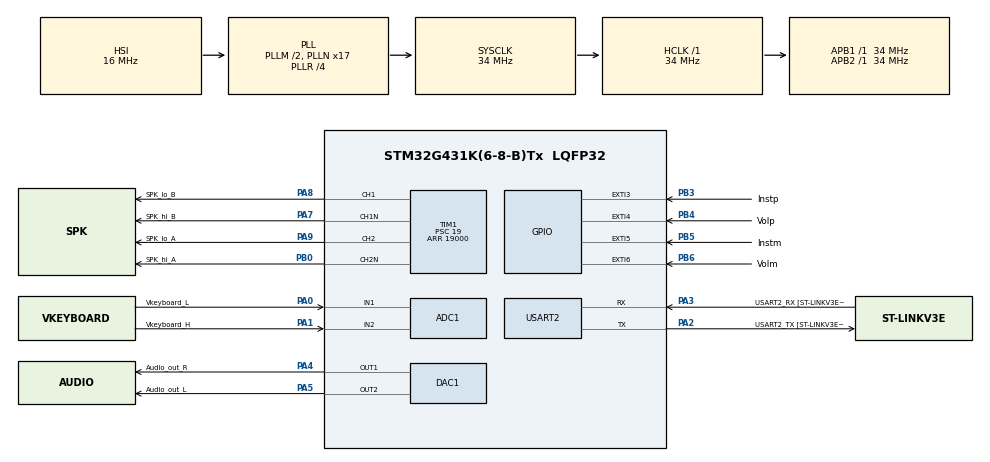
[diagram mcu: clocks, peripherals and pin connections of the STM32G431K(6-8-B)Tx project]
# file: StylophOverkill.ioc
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ADC1.Channel-0\#ChannelRegularConversion=ADC_CHANNEL_1
ADC1.Channel-1\#ChannelRegularConversion=ADC_CHANNEL_2
ADC1.ClockPrescaler=ADC_CLOCK_ASYNC_DIV2
ADC1.ContinuousConvMode=ENABLE
ADC1.DMAContinuousRequests=ENABLE
ADC1.ExternalTrigConv=ADC_SOFTWARE_START
ADC1.NbrOfConversion=2
ADC1.NbrOfConversionFlag=1
ADC1.OffsetNumber-0\#ChannelRegularConversion=ADC_OFFSET_NONE
ADC1.OffsetNumber-1\#ChannelRegularConversion=ADC_OFFSET_NONE
ADC1.Overrun=ADC_OVR_DATA_OVERWRITTEN
ADC1.Rank-0\#ChannelRegularConversion=1
ADC1.Rank-1\#ChannelRegularConversion=2
ADC1.SamplingTime-0\#ChannelRegularConversion=ADC_SAMPLETIME_92CYCLES_5
ADC1.SamplingTime-1\#ChannelRegularConversion=ADC_SAMPLETIME_92CYCLES_5
ADC1.master=1
DAC1.DAC_Channel-DAC_OUT2=DAC_CHANNEL_2
DAC1.DAC_DMADoubleDataMode-DAC_OUT1=DISABLE
DAC1.DAC_SignedFormat-DAC_OUT1=DISABLE
DAC1.DAC_Trigger_OUT1-DAC_OUT1=DAC_TRIGGER_T6_TRGO
DAC1.DAC_Trigger_OUT2-DAC_OUT2=DAC_TRIGGER_T6_TRGO
DAC1.DAC_UserTrimming-DAC_OUT1=DAC_TRIMMING_FACTORY
Dma.ADC1.0.Direction=DMA_PERIPH_TO_MEMORY
Dma.ADC1.0.EventEnable=DISABLE
Dma.ADC1.0.Instance=DMA1_Channel1
Dma.ADC1.0.MemDataAlignment=DMA_MDATAALIGN_WORD
Dma.ADC1.0.MemInc=DMA_MINC_ENABLE
Dma.ADC1.0.Mode=DMA_CIRCULAR
Dma.ADC1.0.PeriphDataAlignment=DMA_PDATAALIGN_WORD
Dma.ADC1.0.PeriphInc=DMA_PINC_DISABLE
Dma.ADC1.0.Polarity=HAL_DMAMUX_REQ_GEN_RISING
Dma.ADC1.0.Priority=DMA_PRIORITY_LOW
Dma.ADC1.0.RequestNumber=1
Dma.ADC1.0.SignalID=NONE
Dma.ADC1.0.SyncEnable=DISABLE
Dma.ADC1.0.SyncPolarity=HAL_DMAMUX_SYNC_NO_EVENT
Dma.ADC1.0.SyncRequestNumber=1
Dma.ADC1.0.SyncSignalID=NONE
Dma.CORDIC_READ.1.Direction=DMA_PERIPH_TO_MEMORY
Dma.CORDIC_READ.1.EventEnable=DISABLE
Dma.CORDIC_READ.1.Instance=DMA2_Channel1
Dma.CORDIC_READ.1.MemDataAlignment=DMA_MDATAALIGN_WORD
Dma.CORDIC_READ.1.MemInc=DMA_MINC_ENABLE
Dma.CORDIC_READ.1.Mode=DMA_NORMAL
Dma.CORDIC_READ.1.PeriphDataAlignment=DMA_PDATAALIGN_WORD
Dma.CORDIC_READ.1.PeriphInc=DMA_PINC_DISABLE
Dma.CORDIC_READ.1.Polarity=HAL_DMAMUX_REQ_GEN_RISING
Dma.CORDIC_READ.1.Priority=DMA_PRIORITY_MEDIUM
Dma.CORDIC_READ.1.RequestNumber=1
Dma.CORDIC_READ.1.SignalID=NONE
Dma.CORDIC_READ.1.SyncEnable=DISABLE
Dma.CORDIC_READ.1.SyncPolarity=HAL_DMAMUX_SYNC_NO_EVENT
Dma.CORDIC_READ.1.SyncRequestNumber=1
Dma.CORDIC_READ.1.SyncSignalID=NONE
Dma.CORDIC_WRITE.2.Direction=DMA_MEMORY_TO_PERIPH
Dma.CORDIC_WRITE.2.EventEnable=DISABLE
Dma.CORDIC_WRITE.2.Instance=DMA2_Channel2
Dma.CORDIC_WRITE.2.MemDataAlignment=DMA_MDATAALIGN_WORD
Dma.CORDIC_WRITE.2.MemInc=DMA_MINC_ENABLE
Dma.CORDIC_WRITE.2.Mode=DMA_NORMAL
Dma.CORDIC_WRITE.2.PeriphDataAlignment=DMA_PDATAALIGN_WORD
Dma.CORDIC_WRITE.2.PeriphInc=DMA_PINC_DISABLE
Dma.CORDIC_WRITE.2.Polarity=HAL_DMAMUX_REQ_GEN_RISING
Dma.CORDIC_WRITE.2.Priority=DMA_PRIORITY_LOW
Dma.CORDIC_WRITE.2.RequestNumber=1
Dma.CORDIC_WRITE.2.SignalID=NONE
Dma.CORDIC_WRITE.2.SyncEnable=DISABLE
Dma.CORDIC_WRITE.2.SyncPolarity=HAL_DMAMUX_SYNC_NO_EVENT
Dma.CORDIC_WRITE.2.SyncRequestNumber=1
Dma.CORDIC_WRITE.2.SyncSignalID=NONE
Dma.DAC1_CH1.3.Direction=DMA_MEMORY_TO_PERIPH
Dma.DAC1_CH1.3.EventEnable=DISABLE
Dma.DAC1_CH1.3.Instance=DMA1_Channel2
Dma.DAC1_CH1.3.MemDataAlignment=DMA_MDATAALIGN_WORD
Dma.DAC1_CH1.3.MemInc=DMA_MINC_ENABLE
Dma.DAC1_CH1.3.Mode=DMA_CIRCULAR
Dma.DAC1_CH1.3.PeriphDataAlignment=DMA_PDATAALIGN_WORD
Dma.DAC1_CH1.3.PeriphInc=DMA_PINC_DISABLE
Dma.DAC1_CH1.3.Polarity=HAL_DMAMUX_REQ_GEN_RISING
Dma.DAC1_CH1.3.Priority=DMA_PRIORITY_LOW
Dma.DAC1_CH1.3.RequestNumber=1
Dma.DAC1_CH1.3.SignalID=NONE
Dma.DAC1_CH1.3.SyncEnable=DISABLE
Dma.DAC1_CH1.3.SyncPolarity=HAL_DMAMUX_SYNC_NO_EVENT
Dma.DAC1_CH1.3.SyncRequestNumber=1
Dma.DAC1_CH1.3.SyncSignalID=NONE
Dma.DAC1_CH2.4.Direction=DMA_MEMORY_TO_PERIPH
Dma.DAC1_CH2.4.EventEnable=DISABLE
Dma.DAC1_CH2.4.Instance=DMA1_Channel3
Dma.DAC1_CH2.4.MemDataAlignment=DMA_MDATAALIGN_WORD
Dma.DAC1_CH2.4.MemInc=DMA_MINC_ENABLE
Dma.DAC1_CH2.4.Mode=DMA_CIRCULAR
Dma.DAC1_CH2.4.PeriphDataAlignment=DMA_PDATAALIGN_WORD
Dma.DAC1_CH2.4.PeriphInc=DMA_PINC_DISABLE
Dma.DAC1_CH2.4.Polarity=HAL_DMAMUX_REQ_GEN_RISING
Dma.DAC1_CH2.4.Priority=DMA_PRIORITY_LOW
Dma.DAC1_CH2.4.RequestNumber=1
Dma.DAC1_CH2.4.SignalID=NONE
Dma.DAC1_CH2.4.SyncEnable=DISABLE
Dma.DAC1_CH2.4.SyncPolarity=HAL_DMAMUX_SYNC_NO_EVENT
Dma.DAC1_CH2.4.SyncRequestNumber=1
Dma.DAC1_CH2.4.SyncSignalID=NONE
Dma.Request0=ADC1
Dma.Request1=CORDIC_READ
Dma.Request2=CORDIC_WRITE
Dma.Request3=DAC1_CH1
Dma.Request4=DAC1_CH2
Mcu.Family=STM32G4
Mcu.Name=STM32G431K(6-8-B)Tx
Mcu.Package=LQFP32
NVIC.DMA1_Channel1_IRQn=true\:0\:0\:false\:false\:true\:false\:true
NVIC.DMA1_Channel2_IRQn=true\:0\:0\:false\:false\:true\:false\:true
NVIC.DMA1_Channel3_IRQn=true\:0\:0\:false\:false\:true\:false\:true
NVIC.DMA2_Channel1_IRQn=true\:0\:0\:false\:false\:true\:false\:true
NVIC.DMA2_Channel2_IRQn=true\:0\:0\:false\:false\:true\:false\:true
NVIC.PriorityGroup=NVIC_PRIORITYGROUP_4
NVIC.TIM2_IRQn=true\:0\:0\:false\:false\:true\:true\:true
NVIC.TIM6_DAC_IRQn=true\:0\:0\:false\:false\:true\:true\:true
PA0.GPIO_Label=Vkeyboard_L
PA0.Mode=IN1-Single-Ended
PA0.Signal=ADC1_IN1
PA1.GPIO_Label=Vkeyboard_H
PA1.Mode=IN2-Single-Ended
PA1.Signal=ADC1_IN2
PA13.GPIO_Label=T_SWDIO
PA13.Mode=Serial_Wire
PA13.Signal=SYS_JTMS-SWDIO
PA14.GPIO_Label=T_SWCLK
PA14.Mode=Serial_Wire
PA14.Signal=SYS_JTCK-SWCLK
PA2.GPIO_Label=USART2_TX [ST-LINKV3E_VCP_RX]
PA2.Mode=Asynchronous
PA2.Signal=USART2_TX
PA3.GPIO_Label=USART2_RX [ST-LINKV3E_VCP_TX]
PA3.Mode=Asynchronous
PA3.Signal=USART2_RX
PA4.GPIO_Label=Audio_out_R
PA4.Signal=COMP_DAC11_group
PA5.GPIO_Label=Audio_out_L
PA5.Signal=COMP_DAC12_group
PA7.GPIO_Label=SPK_hi_B
PA7.Mode=PWM Generation1 CH1 CH1N
PA7.Signal=TIM1_CH1N
PA8.GPIO_Label=SPK_lo_B
PA8.Signal=S_TIM1_CH1
PA9.GPIO_Label=SPK_lo_A
PA9.Signal=S_TIM1_CH2
PB0.GPIO_Label=SPK_hi_A
PB0.Mode=PWM Generation2 CH2 CH2N
PB0.Signal=TIM1_CH2N
PB3.GPIO_Label=Instp
PB3.GPIO_ModeDefaultEXTI=GPIO_MODE_IT_RISING_FALLING
PB3.Signal=GPXTI3
PB4.GPIO_Label=Volp
PB4.GPIO_ModeDefaultEXTI=GPIO_MODE_IT_RISING_FALLING
PB4.Signal=GPXTI4
PB5.GPIO_Label=Instm
PB5.GPIO_ModeDefaultEXTI=GPIO_MODE_IT_RISING_FALLING
PB5.Signal=GPXTI5
PB6.GPIO_Label=Volm
PB6.GPIO_ModeDefaultEXTI=GPIO_MODE_IT_RISING_FALLING
PB6.Signal=GPXTI6
ProjectManager.HeapSize=0x200
ProjectManager.StackSize=0x400
ProjectManager.TargetToolchain=STM32CubeIDE
RCC.ADC12Freq_Value=34000000
RCC.AHBFreq_Value=34000000
RCC.APB1Freq_Value=34000000
RCC.APB1TimFreq_Value=34000000
RCC.APB2Freq_Value=34000000
RCC.APB2TimFreq_Value=34000000
RCC.CortexFreq_Value=34000000
RCC.EXTERNAL_CLOCK_VALUE=12288000
RCC.HCLKFreq_Value=34000000
RCC.HSE_VALUE=8000000
RCC.HSI48_VALUE=48000000
RCC.HSI_VALUE=16000000
RCC.LSE_VALUE=32768
RCC.PLLM=RCC_PLLM_DIV2
RCC.PLLN=17
RCC.PLLR=RCC_PLLR_DIV4
RCC.SYSCLKFreq_VALUE=34000000
RCC.SYSCLKSource=RCC_SYSCLKSOURCE_PLLCLK
RCC.USBFreq_Value=68000000
RCC.VCOOutputFreq_Value=136000000
SH.COMP_DAC11_group.0=DAC1_OUT1,DAC_OUT1
SH.COMP_DAC12_group.0=DAC1_OUT2,DAC_OUT2
SH.S_TIM1_CH1.0=TIM1_CH1,PWM Generation1 CH1 CH1N
SH.S_TIM1_CH2.0=TIM1_CH2,PWM Generation2 CH2 CH2N
TIM1.AutoReloadPreload=TIM_AUTORELOAD_PRELOAD_ENABLE
TIM1.Channel-PWM\ Generation1\ CH1\ CH1N=TIM_CHANNEL_1
TIM1.Channel-PWM\ Generation2\ CH2\ CH2N=TIM_CHANNEL_2
TIM1.DeadTime=0
TIM1.OCFastMode_PWM-PWM\ Generation1\ CH1\ CH1N=TIM_OCFAST_ENABLE
TIM1.OCFastMode_PWM-PWM\ Generation2\ CH2\ CH2N=TIM_OCFAST_ENABLE
TIM1.OCMode_PWM-PWM\ Generation2\ CH2\ CH2N=TIM_OCMODE_PWM1
TIM1.OCNIdleState_2=TIM_OCNIDLESTATE_RESET
TIM1.OCNPolarity_1=TIM_OCNPOLARITY_LOW
TIM1.OCNPolarity_2=TIM_OCNPOLARITY_HIGH
TIM1.OCPolarity_1=TIM_OCPOLARITY_HIGH
TIM1.OCPolarity_2=TIM_OCPOLARITY_LOW
TIM1.PeriodNoDither=19000
TIM1.Prescaler=19
TIM1.PulseNoDither_1=250
TIM1.PulseNoDither_2=250
TIM2.PeriodNoDither=999
TIM2.Prescaler=169
TIM6.AutoReloadPreload=TIM_AUTORELOAD_PRELOAD_ENABLE
TIM6.PeriodNoDither=22
TIM6.Prescaler=1
TIM6.TIM_MasterOutputTrigger=TIM_TRGO_UPDATE
USART2.VirtualMode-Asynchronous=VM_ASYNC
USART2.WordLength=WORDLENGTH_8B
VP_CORDIC_VS_CORDIC.Mode=CORDIC_Activate
VP_FMAC_VS_FMAC.Mode=FMAC_Activate
VP_SYS_VS_DBSignals.Mode=DisableDeadBatterySignals
VP_TIM1_VS_ClockSourceINT.Mode=Internal
VP_TIM2_VS_ClockSourceINT.Mode=Internal
VP_TIM6_VS_ClockSourceINT.Mode=Enable_Timer
board=NUCLEO-G431KB

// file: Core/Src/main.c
/* USER CODE BEGIN Header */
/**
 ******************************************************************************
 * @file           : main.c
 * @brief          : Main program body
 ******************************************************************************
 * @attention
 *
 * <h2><center>&copy; Copyright (c) 2020 STMicroelectronics.
 * All rights reserved.</center></h2>
 *
 * This software component is licensed by ST under BSD 3-Clause license,
 * the "License"; You may not use this file except in compliance with the
 * License. You may obtain a copy of the License at:
 *                        opensource.org/licenses/BSD-3-Clause
 *
 ******************************************************************************
 */
/* USER CODE END Header */

#include "main.h"

/* USER CODE BEGIN Includes */
#include "define.h"
/* USER CODE END Includes */

/* USER CODE BEGIN PD */

#define LOOKUP_TABLE_SIZE 400
#define VOL_P_BIT 7
#define VOL_M_BIT 6
#define INST_P_BIT 5
#define INST_M_BIT 4
#define DEBOUNCE_TIME 10 //TIM 2 ARR IRQ = ms

/* USER CODE END PD */

ADC_HandleTypeDef hadc1;
DMA_HandleTypeDef hdma_adc1;

CORDIC_HandleTypeDef hcordic;
DMA_HandleTypeDef hdma_cordic_read;
DMA_HandleTypeDef hdma_cordic_write;

DAC_HandleTypeDef hdac1;
DMA_HandleTypeDef hdma_dac1_ch1;
DMA_HandleTypeDef hdma_dac1_ch2;

FMAC_HandleTypeDef hfmac;

TIM_HandleTypeDef htim1;
TIM_HandleTypeDef htim2;
TIM_HandleTypeDef htim6;

UART_HandleTypeDef huart2;

/* USER CODE BEGIN PV */
uint32_t wave_table[LOOKUP_TABLE_SIZE];
float outputVolume = 0.1;
uint32_t KeyboardCaptureBuffer[2];

volatile uint16_t Vol_p_Tick;
volatile uint16_t Vol_m_Tick;
volatile uint16_t Inst_p_Tick;
volatile uint16_t Inst_m_Tick;
volatile uint16_t Tick;
volatile uint8_t buttonFlags = 0x00; // Vol+_Vol-_Inst+_Inst-_0_0_0_0
volatile uint8_t buttonDownFlags = 0x00; // Vol+_Vol-_Inst+_Inst-_0_0_0_0

/* USER CODE END PV */

void SystemClock_Config(void);
static void MX_GPIO_Init(void);
static void MX_DMA_Init(void);
static void MX_USART2_UART_Init(void);
static void MX_TIM1_Init(void);
static void MX_ADC1_Init(void);
static void MX_CORDIC_Init(void);
static void MX_FMAC_Init(void);
static void MX_DAC1_Init(void);
static void MX_TIM6_Init(void);
static void MX_TIM2_Init(void);
/* USER CODE BEGIN PFP */

typedef enum{
	sine,
	square,
	sawtooth,
	triangular,
	pulse
}waveShape;

void generateWaveTable(uint32_t table[], waveShape shape,  uint16_t size, float amplitude)
{

	//Calculate coefs first to avoid multiple calculations
	float linear_coefs[2] = {(amplitude*4095.0f)/(float)size, (2047.0f-amplitude*2047.0f)};
	for (int i = 0 ; i < size ; i++)
	{
		switch(shape)
		{
		case sine:;
		float angle = ((float)i-(float)size/2.0f)/((float)size/2.0f);
		int32_t Fangle = TOFIX(angle,31);
		int32_t Fresult =0;
		HAL_CORDIC_Calculate(&hcordic, &Fangle, &Fresult, 1, 2);
		float calculatedSin = TOFLT(Fresult,31);
		table[i] = (uint32_t)(amplitude*2047.0f*calculatedSin+2048.0f);
		break;
		case square:
			if (i < size/2) table[i] = (uint32_t)(2048.0f + amplitude*2047.0f);
			else table[i] = (uint32_t)(2047.0f-amplitude*2047.0f);
			break;
		case sawtooth:
			table[i] = (uint32_t)(linear_coefs[0]*(float)i+linear_coefs[1]);
			break;
		case triangular:
			if (i < size/2)
			{
				uint32_t val = (uint32_t)(linear_coefs[0]*2.0f*(float)i+linear_coefs[1]);
				table[i] = val;
				table[size-1-i] = val;
			}
			break;
		case pulse:
			break;
		}
	}
}

//For now just apply the note index output settings based on current output mode.
void note_on(uint16_t  index)
{
	if (index >= NUMBER_OF_NOTES)
	{
		HAL_TIM_Base_Stop(&htim6);
		HAL_TIM_PWM_Stop(&htim1, TIM_CHANNEL_2);
		HAL_TIMEx_PWMN_Stop(&htim1, TIM_CHANNEL_2);
		HAL_TIM_PWM_Stop(&htim1, TIM_CHANNEL_1);
		HAL_TIMEx_PWMN_Stop(&htim1, TIM_CHANNEL_1);
		return;
	}
	switch(CurrentOMode)
	{
	case PWM:
		if (NextOMode == synth)
		{
			HAL_TIM_PWM_Stop(&htim1, TIM_CHANNEL_2);
			HAL_TIMEx_PWMN_Stop(&htim1, TIM_CHANNEL_2);
			HAL_TIM_PWM_Stop(&htim1, TIM_CHANNEL_1);
			HAL_TIMEx_PWMN_Stop(&htim1, TIM_CHANNEL_1);
			CurrentOMode = synth;
			note_on(index); // Apply immediately the new mode
		}
		else
		{

			HAL_TIM_PWM_Start(&htim1, TIM_CHANNEL_2);
			HAL_TIMEx_PWMN_Start(&htim1, TIM_CHANNEL_2);
			HAL_TIM_PWM_Start(&htim1, TIM_CHANNEL_1);
			HAL_TIMEx_PWMN_Start(&htim1, TIM_CHANNEL_1);
			TIM1->ARR = (notes[index].PWM_ARR-1);	//Auto reload pre load is enabled ==> Change of frequency active at next reload
			TIM1->CCR1 = (notes[index].PWM_ARR-1)/2;	//Auto Compare pre load is enabled ==> Change of duty active at next reload
			TIM1->CCR2 = notes[index].PWM_ARR-(notes[index].PWM_ARR-1)/2;	//Auto Compare pre load is enabled ==> Change of duty active at next reload
		}
		break;

	case synth:
		if (NextOMode == PWM)
		{
			HAL_TIM_Base_Stop(&htim6);
			CurrentOMode = PWM;
			note_on(index); // Apply immediately the new mode
		}
		else
		{
			HAL_TIM_Base_Start(&htim6);
			TIM6->ARR = (notes[index].Synth_ARR-1)/2;	//Auto reload pre load is enabled ==> Change of frequency active at next reload
		}
		break;

	case None:
		if (NextOMode == PWM)
		{
			HAL_TIM_PWM_Start(&htim1, TIM_CHANNEL_2);
			HAL_TIMEx_PWMN_Start(&htim1, TIM_CHANNEL_2);
			CurrentOMode = PWM;
		}
		else if (NextOMode == synth)
		{
			HAL_TIM_Base_Start(&htim6);
			CurrentOMode = synth;
		}
		note_on(index); // Apply immediately the new mode
		break;

	default:
		break;

	}
}
/* USER CODE END PFP */

int main(void)
{

  /* MCU Configuration--------------------------------------------------------*/

  /* Reset of all peripherals, Initializes the Flash interface and the Systick. */
  HAL_Init();

  /* Configure the system clock */
  SystemClock_Config();

  /* Initialize all configured peripherals */
  MX_GPIO_Init();
  MX_DMA_Init();
  MX_USART2_UART_Init();
  MX_TIM1_Init();
  MX_ADC1_Init();
  MX_CORDIC_Init();
  MX_FMAC_Init();
  MX_DAC1_Init();
  MX_TIM6_Init();
  MX_TIM2_Init();
  /* USER CODE BEGIN 2 */
	waveShape currentWaveShape = triangular;
	generateWaveTable(wave_table, currentWaveShape,  LOOKUP_TABLE_SIZE, outputVolume );
	fill_notes_table();
	//HAL_TIM_Base_Start(&htim6);
	HAL_DAC_Start_DMA(&hdac1, DAC_CHANNEL_2, wave_table, LOOKUP_TABLE_SIZE, DAC_ALIGN_12B_R);
	HAL_DAC_Start_DMA(&hdac1, DAC_CHANNEL_1, wave_table, LOOKUP_TABLE_SIZE, DAC_ALIGN_12B_R);
	HAL_TIM_Base_Start_IT(&htim2);

	HAL_ADC_Start_DMA(&hadc1, KeyboardCaptureBuffer, 2);

  /* USER CODE END 2 */

  /* Infinite loop */
  /* USER CODE BEGIN WHILE */
	NextOMode = synth;
	while (1)
	{
		if (Tick>0 )
		{
			Tick = 0;
			note_on(getActiveNote(KeyboardCaptureBuffer[0], KeyboardCaptureBuffer[1]));

			if(HAL_GPIO_ReadPin(Volp_GPIO_Port, Volp_Pin)==0 && !(buttonDownFlags& 1<<VOL_P_BIT))
			{
				Vol_p_Tick = 0; 	// Falling edge, restart debounce counter
				buttonDownFlags |= 1<<VOL_P_BIT;
			}
			else if ((buttonDownFlags& 1<<VOL_P_BIT) &&HAL_GPIO_ReadPin(Volp_GPIO_Port, Volp_Pin)==1)
			{
				buttonDownFlags &= 0xFE <<VOL_P_BIT;
				if(Vol_p_Tick >= DEBOUNCE_TIME)
					buttonFlags |= 1<<VOL_P_BIT;
			}

			if(HAL_GPIO_ReadPin(Volm_GPIO_Port, Volm_Pin)==0 && !(buttonDownFlags& 1<<VOL_M_BIT))
			{
				Vol_m_Tick = 0; 	// Falling edge, restart debounce counter
				buttonDownFlags |= 1<<VOL_M_BIT;
			}
			else if ((buttonDownFlags& 1<<VOL_M_BIT) &&HAL_GPIO_ReadPin(Volm_GPIO_Port, Volm_Pin)==1)
			{
				buttonDownFlags &= 0xFE <<VOL_M_BIT;
				if(Vol_m_Tick >= DEBOUNCE_TIME)
					buttonFlags |= 1<<VOL_M_BIT;
			}

			if(HAL_GPIO_ReadPin(Instp_GPIO_Port, Instp_Pin)==0 && !(buttonDownFlags& 1<<INST_P_BIT))
			{
				Inst_p_Tick = 0; 	// Falling edge, restart debounce counter
				buttonDownFlags |= 1<<INST_P_BIT;
			}
			else if ((buttonDownFlags& 1<<INST_P_BIT) &&HAL_GPIO_ReadPin(Instp_GPIO_Port, Instp_Pin)==1)
			{
				buttonDownFlags &= 0xFE <<INST_P_BIT;
				if(Inst_p_Tick >= DEBOUNCE_TIME)
					buttonFlags |= 1<<INST_P_BIT;
			}

			if(HAL_GPIO_ReadPin(Instm_GPIO_Port, Instm_Pin)==0 && !(buttonDownFlags& 1<<INST_M_BIT))
			{
				Inst_m_Tick = 0; 	// Falling edge, restart debounce counter
				buttonDownFlags |= 1<<INST_M_BIT;
			}
			else if ((buttonDownFlags& 1<<INST_M_BIT) &&HAL_GPIO_ReadPin(Instm_GPIO_Port, Instm_Pin)==1)
			{
				buttonDownFlags &= 0xFE <<INST_M_BIT;
				if(Inst_m_Tick >= DEBOUNCE_TIME)
					buttonFlags |= 1<<INST_M_BIT;
			}
		}

		if (buttonFlags& 1<<VOL_P_BIT)
		{
			int a = 0;
			buttonFlags &= 0xFE <<VOL_P_BIT;
			outputVolume +=0.05;
			if (outputVolume>1.0) outputVolume = 1.0;
			generateWaveTable(wave_table, currentWaveShape,  LOOKUP_TABLE_SIZE, outputVolume );
		}
		if (buttonFlags& 1<<VOL_M_BIT)
		{
			buttonFlags &= 0xFE <<VOL_M_BIT;
			outputVolume -=0.05;
			if(outputVolume<0.0) outputVolume = 0.0;
			generateWaveTable(wave_table, currentWaveShape,  LOOKUP_TABLE_SIZE, outputVolume );
		}
		if (buttonFlags& 1<<INST_P_BIT)
		{
			buttonFlags &= 0xFE <<INST_P_BIT;
			switch(currentWaveShape)
			{
			case sine:
				currentWaveShape = square;
				break;
			case square:
				currentWaveShape = sawtooth;
				break;
			case sawtooth:
				currentWaveShape = triangular;
				break;
			case triangular:
				currentWaveShape = sine;
				break;
			case pulse:
				break;
			}
			generateWaveTable(wave_table, currentWaveShape,  LOOKUP_TABLE_SIZE, outputVolume );
		}
		if (buttonFlags& 1<<INST_M_BIT)
		{
			buttonFlags &= 0xFE <<INST_M_BIT;
			switch(currentWaveShape)
			{
			case sine:
				currentWaveShape = triangular;
				break;
			case square:
				currentWaveShape = sine;
				break;
			case sawtooth:
				currentWaveShape = square;
				break;
			case triangular:
				currentWaveShape = sawtooth;
				break;
			case pulse:
				break;
			}
			generateWaveTable(wave_table, currentWaveShape,  LOOKUP_TABLE_SIZE, outputVolume );
		}

    /* USER CODE END WHILE */

	}
}

void SystemClock_Config(void)
{
  RCC_OscInitTypeDef RCC_OscInitStruct = {0};
  RCC_ClkInitTypeDef RCC_ClkInitStruct = {0};
  RCC_PeriphCLKInitTypeDef PeriphClkInit = {0};

  /** Configure the main internal regulator output voltage
  */
  HAL_PWREx_ControlVoltageScaling(PWR_REGULATOR_VOLTAGE_SCALE1);
  /** Initializes the CPU, AHB and APB busses clocks
  */
  RCC_OscInitStruct.OscillatorType = RCC_OSCILLATORTYPE_HSI;
  RCC_OscInitStruct.HSIState = RCC_HSI_ON;
  RCC_OscInitStruct.HSICalibrationValue = RCC_HSICALIBRATION_DEFAULT;
  RCC_OscInitStruct.PLL.PLLState = RCC_PLL_ON;
  RCC_OscInitStruct.PLL.PLLSource = RCC_PLLSOURCE_HSI;
  RCC_OscInitStruct.PLL.PLLM = RCC_PLLM_DIV2;
  RCC_OscInitStruct.PLL.PLLN = 17;
  RCC_OscInitStruct.PLL.PLLP = RCC_PLLP_DIV2;
  RCC_OscInitStruct.PLL.PLLQ = RCC_PLLQ_DIV2;
  RCC_OscInitStruct.PLL.PLLR = RCC_PLLR_DIV4;
  if (HAL_RCC_OscConfig(&RCC_OscInitStruct) != HAL_OK)
  {
    Error_Handler();
  }
  /** Initializes the CPU, AHB and APB busses clocks
  */
  RCC_ClkInitStruct.ClockType = RCC_CLOCKTYPE_HCLK|RCC_CLOCKTYPE_SYSCLK
                              |RCC_CLOCKTYPE_PCLK1|RCC_CLOCKTYPE_PCLK2;
  RCC_ClkInitStruct.SYSCLKSource = RCC_SYSCLKSOURCE_PLLCLK;
  RCC_ClkInitStruct.AHBCLKDivider = RCC_SYSCLK_DIV1;
  RCC_ClkInitStruct.APB1CLKDivider = RCC_HCLK_DIV1;
  RCC_ClkInitStruct.APB2CLKDivider = RCC_HCLK_DIV1;

  if (HAL_RCC_ClockConfig(&RCC_ClkInitStruct, FLASH_LATENCY_1) != HAL_OK)
  {
    Error_Handler();
  }
  /** Initializes the peripherals clocks
  */
  PeriphClkInit.PeriphClockSelection = RCC_PERIPHCLK_USART2|RCC_PERIPHCLK_ADC12;
  PeriphClkInit.Usart2ClockSelection = RCC_USART2CLKSOURCE_PCLK1;
  PeriphClkInit.Adc12ClockSelection = RCC_ADC12CLKSOURCE_SYSCLK;
  if (HAL_RCCEx_PeriphCLKConfig(&PeriphClkInit) != HAL_OK)
  {
    Error_Handler();
  }
}

static void MX_ADC1_Init(void)
{

  ADC_MultiModeTypeDef multimode = {0};
  ADC_ChannelConfTypeDef sConfig = {0};

  /** Common config
  */
  hadc1.Instance = ADC1;
  hadc1.Init.ClockPrescaler = ADC_CLOCK_ASYNC_DIV2;
  hadc1.Init.Resolution = ADC_RESOLUTION_12B;
  hadc1.Init.DataAlign = ADC_DATAALIGN_RIGHT;
  hadc1.Init.GainCompensation = 0;
  hadc1.Init.ScanConvMode = ADC_SCAN_ENABLE;
  hadc1.Init.EOCSelection = ADC_EOC_SINGLE_CONV;
  hadc1.Init.LowPowerAutoWait = DISABLE;
  hadc1.Init.ContinuousConvMode = ENABLE;
  hadc1.Init.NbrOfConversion = 2;
  hadc1.Init.DiscontinuousConvMode = DISABLE;
  hadc1.Init.ExternalTrigConv = ADC_SOFTWARE_START;
  hadc1.Init.ExternalTrigConvEdge = ADC_EXTERNALTRIGCONVEDGE_NONE;
  hadc1.Init.DMAContinuousRequests = ENABLE;
  hadc1.Init.Overrun = ADC_OVR_DATA_OVERWRITTEN;
  hadc1.Init.OversamplingMode = DISABLE;
  if (HAL_ADC_Init(&hadc1) != HAL_OK)
  {
    Error_Handler();
  }
  /** Configure the ADC multi-mode
  */
  multimode.Mode = ADC_MODE_INDEPENDENT;
  if (HAL_ADCEx_MultiModeConfigChannel(&hadc1, &multimode) != HAL_OK)
  {
    Error_Handler();
  }
  /** Configure Regular Channel
  */
  sConfig.Channel = ADC_CHANNEL_1;
  sConfig.Rank = ADC_REGULAR_RANK_1;
  sConfig.SamplingTime = ADC_SAMPLETIME_92CYCLES_5;
  sConfig.SingleDiff = ADC_SINGLE_ENDED;
  sConfig.OffsetNumber = ADC_OFFSET_NONE;
  sConfig.Offset = 0;
  if (HAL_ADC_ConfigChannel(&hadc1, &sConfig) != HAL_OK)
  {
    Error_Handler();
  }
  /** Configure Regular Channel
  */
  sConfig.Channel = ADC_CHANNEL_2;
  sConfig.Rank = ADC_REGULAR_RANK_2;
  if (HAL_ADC_ConfigChannel(&hadc1, &sConfig) != HAL_OK)
  {
    Error_Handler();
  }

}

static void MX_CORDIC_Init(void)
{

  hcordic.Instance = CORDIC;
  if (HAL_CORDIC_Init(&hcordic) != HAL_OK)
  {
    Error_Handler();
  }
  /* USER CODE BEGIN CORDIC_Init 2 */

	CORDIC_ConfigTypeDef sCordicConfig = {0};
	/*## Configure the CORDIC peripheral ####################################*/
	sCordicConfig.Function = CORDIC_FUNCTION_SINE; /* sine function */
	sCordicConfig.Precision = CORDIC_PRECISION_6CYCLES; /* max precision for q1.31 sine */
	sCordicConfig.Scale = CORDIC_SCALE_0; /* no scale */
	sCordicConfig.NbWrite = CORDIC_NBWRITE_1; /* One input data: angle. Second input data (modulus) is 1 after cordic reset */
	sCordicConfig.NbRead = CORDIC_NBREAD_1; /* One output data: sine*/
	sCordicConfig.InSize = CORDIC_INSIZE_32BITS; /* q1.31 format for input data */
	sCordicConfig.OutSize = CORDIC_OUTSIZE_32BITS; /* q1.31 format for output data */
	if (HAL_CORDIC_Configure(&hcordic, &sCordicConfig) != HAL_OK)
	{
		/* Configuration Error */
		Error_Handler();
	}

  /* USER CODE END CORDIC_Init 2 */

}

static void MX_DAC1_Init(void)
{

  DAC_ChannelConfTypeDef sConfig = {0};

  /** DAC Initialization
  */
  hdac1.Instance = DAC1;
  if (HAL_DAC_Init(&hdac1) != HAL_OK)
  {
    Error_Handler();
  }
  /** DAC channel OUT1 config
  */
  sConfig.DAC_HighFrequency = DAC_HIGH_FREQUENCY_INTERFACE_MODE_AUTOMATIC;
  sConfig.DAC_DMADoubleDataMode = DISABLE;
  sConfig.DAC_SignedFormat = DISABLE;
  sConfig.DAC_SampleAndHold = DAC_SAMPLEANDHOLD_DISABLE;
  sConfig.DAC_Trigger = DAC_TRIGGER_T6_TRGO;
  sConfig.DAC_Trigger2 = DAC_TRIGGER_NONE;
  sConfig.DAC_OutputBuffer = DAC_OUTPUTBUFFER_ENABLE;
  sConfig.DAC_ConnectOnChipPeripheral = DAC_CHIPCONNECT_DISABLE;
  sConfig.DAC_UserTrimming = DAC_TRIMMING_FACTORY;
  if (HAL_DAC_ConfigChannel(&hdac1, &sConfig, DAC_CHANNEL_1) != HAL_OK)
  {
    Error_Handler();
  }
  /** DAC channel OUT2 config
  */
  sConfig.DAC_ConnectOnChipPeripheral = DAC_CHIPCONNECT_DISABLE;
  if (HAL_DAC_ConfigChannel(&hdac1, &sConfig, DAC_CHANNEL_2) != HAL_OK)
  {
    Error_Handler();
  }

}

static void MX_FMAC_Init(void)
{

  hfmac.Instance = FMAC;
  if (HAL_FMAC_Init(&hfmac) != HAL_OK)
  {
    Error_Handler();
  }

}

static void MX_TIM1_Init(void)
{

  TIM_ClockConfigTypeDef sClockSourceConfig = {0};
  TIM_MasterConfigTypeDef sMasterConfig = {0};
  TIM_OC_InitTypeDef sConfigOC = {0};
  TIM_BreakDeadTimeConfigTypeDef sBreakDeadTimeConfig = {0};

  htim1.Instance = TIM1;
  htim1.Init.Prescaler = 19;
  htim1.Init.CounterMode = TIM_COUNTERMODE_UP;
  htim1.Init.Period = 19000;
  htim1.Init.ClockDivision = TIM_CLOCKDIVISION_DIV1;
  htim1.Init.RepetitionCounter = 0;
  htim1.Init.AutoReloadPreload = TIM_AUTORELOAD_PRELOAD_ENABLE;
  if (HAL_TIM_Base_Init(&htim1) != HAL_OK)
  {
    Error_Handler();
  }
  sClockSourceConfig.ClockSource = TIM_CLOCKSOURCE_INTERNAL;
  if (HAL_TIM_ConfigClockSource(&htim1, &sClockSourceConfig) != HAL_OK)
  {
    Error_Handler();
  }
  if (HAL_TIM_PWM_Init(&htim1) != HAL_OK)
  {
    Error_Handler();
  }
  sMasterConfig.MasterOutputTrigger = TIM_TRGO_RESET;
  sMasterConfig.MasterOutputTrigger2 = TIM_TRGO2_RESET;
  sMasterConfig.MasterSlaveMode = TIM_MASTERSLAVEMODE_DISABLE;
  if (HAL_TIMEx_MasterConfigSynchronization(&htim1, &sMasterConfig) != HAL_OK)
  {
    Error_Handler();
  }
  sConfigOC.OCMode = TIM_OCMODE_PWM1;
  sConfigOC.Pulse = 250;
  sConfigOC.OCPolarity = TIM_OCPOLARITY_HIGH;
  sConfigOC.OCNPolarity = TIM_OCNPOLARITY_LOW;
  sConfigOC.OCFastMode = TIM_OCFAST_ENABLE;
  sConfigOC.OCIdleState = TIM_OCIDLESTATE_RESET;
  sConfigOC.OCNIdleState = TIM_OCNIDLESTATE_RESET;
  if (HAL_TIM_PWM_ConfigChannel(&htim1, &sConfigOC, TIM_CHANNEL_1) != HAL_OK)
  {
    Error_Handler();
  }
  sConfigOC.Pulse = 250;
  sConfigOC.OCPolarity = TIM_OCPOLARITY_LOW;
  sConfigOC.OCNPolarity = TIM_OCNPOLARITY_HIGH;
  if (HAL_TIM_PWM_ConfigChannel(&htim1, &sConfigOC, TIM_CHANNEL_2) != HAL_OK)
  {
    Error_Handler();
  }
  sBreakDeadTimeConfig.OffStateRunMode = TIM_OSSR_DISABLE;
  sBreakDeadTimeConfig.OffStateIDLEMode = TIM_OSSI_DISABLE;
  sBreakDeadTimeConfig.LockLevel = TIM_LOCKLEVEL_OFF;
  sBreakDeadTimeConfig.DeadTime = 0;
  sBreakDeadTimeConfig.BreakState = TIM_BREAK_DISABLE;
  sBreakDeadTimeConfig.BreakPolarity = TIM_BREAKPOLARITY_HIGH;
  sBreakDeadTimeConfig.BreakFilter = 0;
  sBreakDeadTimeConfig.BreakAFMode = TIM_BREAK_AFMODE_INPUT;
  sBreakDeadTimeConfig.Break2State = TIM_BREAK2_DISABLE;
  sBreakDeadTimeConfig.Break2Polarity = TIM_BREAK2POLARITY_HIGH;
  sBreakDeadTimeConfig.Break2Filter = 0;
  sBreakDeadTimeConfig.Break2AFMode = TIM_BREAK_AFMODE_INPUT;
  sBreakDeadTimeConfig.AutomaticOutput = TIM_AUTOMATICOUTPUT_DISABLE;
  if (HAL_TIMEx_ConfigBreakDeadTime(&htim1, &sBreakDeadTimeConfig) != HAL_OK)
  {
    Error_Handler();
  }
  HAL_TIM_MspPostInit(&htim1);

}

static void MX_TIM2_Init(void)
{

  TIM_ClockConfigTypeDef sClockSourceConfig = {0};
  TIM_MasterConfigTypeDef sMasterConfig = {0};

  htim2.Instance = TIM2;
  htim2.Init.Prescaler = 169;
  htim2.Init.CounterMode = TIM_COUNTERMODE_UP;
  htim2.Init.Period = 999;
  htim2.Init.ClockDivision = TIM_CLOCKDIVISION_DIV1;
  htim2.Init.AutoReloadPreload = TIM_AUTORELOAD_PRELOAD_DISABLE;
  if (HAL_TIM_Base_Init(&htim2) != HAL_OK)
  {
    Error_Handler();
  }
  sClockSourceConfig.ClockSource = TIM_CLOCKSOURCE_INTERNAL;
  if (HAL_TIM_ConfigClockSource(&htim2, &sClockSourceConfig) != HAL_OK)
  {
    Error_Handler();
  }
  sMasterConfig.MasterOutputTrigger = TIM_TRGO_RESET;
  sMasterConfig.MasterSlaveMode = TIM_MASTERSLAVEMODE_DISABLE;
  if (HAL_TIMEx_MasterConfigSynchronization(&htim2, &sMasterConfig) != HAL_OK)
  {
    Error_Handler();
  }

}

static void MX_TIM6_Init(void)
{

  TIM_MasterConfigTypeDef sMasterConfig = {0};

  htim6.Instance = TIM6;
  htim6.Init.Prescaler = 1;
  htim6.Init.CounterMode = TIM_COUNTERMODE_UP;
  htim6.Init.Period = 22;
  htim6.Init.AutoReloadPreload = TIM_AUTORELOAD_PRELOAD_ENABLE;
  if (HAL_TIM_Base_Init(&htim6) != HAL_OK)
  {
    Error_Handler();
  }
  sMasterConfig.MasterOutputTrigger = TIM_TRGO_UPDATE;
  sMasterConfig.MasterSlaveMode = TIM_MASTERSLAVEMODE_DISABLE;
  if (HAL_TIMEx_MasterConfigSynchronization(&htim6, &sMasterConfig) != HAL_OK)
  {
    Error_Handler();
  }

}

static void MX_USART2_UART_Init(void)
{

  huart2.Instance = USART2;
  huart2.Init.BaudRate = 115200;
  huart2.Init.WordLength = UART_WORDLENGTH_8B;
  huart2.Init.StopBits = UART_STOPBITS_1;
  huart2.Init.Parity = UART_PARITY_NONE;
  huart2.Init.Mode = UART_MODE_TX_RX;
  huart2.Init.HwFlowCtl = UART_HWCONTROL_NONE;
  huart2.Init.OverSampling = UART_OVERSAMPLING_16;
  huart2.Init.OneBitSampling = UART_ONE_BIT_SAMPLE_DISABLE;
  huart2.Init.ClockPrescaler = UART_PRESCALER_DIV1;
  huart2.AdvancedInit.AdvFeatureInit = UART_ADVFEATURE_NO_INIT;
  if (HAL_UART_Init(&huart2) != HAL_OK)
  {
    Error_Handler();
  }
  if (HAL_UARTEx_SetTxFifoThreshold(&huart2, UART_TXFIFO_THRESHOLD_1_8) != HAL_OK)
  {
    Error_Handler();
  }
  if (HAL_UARTEx_SetRxFifoThreshold(&huart2, UART_RXFIFO_THRESHOLD_1_8) != HAL_OK)
  {
    Error_Handler();
  }
  if (HAL_UARTEx_DisableFifoMode(&huart2) != HAL_OK)
  {
    Error_Handler();
  }

}

static void MX_DMA_Init(void)
{

  /* DMA controller clock enable */
  __HAL_RCC_DMAMUX1_CLK_ENABLE();
  __HAL_RCC_DMA1_CLK_ENABLE();
  __HAL_RCC_DMA2_CLK_ENABLE();

  /* DMA interrupt init */
  /* DMA1_Channel1_IRQn interrupt configuration */
  HAL_NVIC_SetPriority(DMA1_Channel1_IRQn, 0, 0);
  HAL_NVIC_EnableIRQ(DMA1_Channel1_IRQn);
  /* DMA1_Channel2_IRQn interrupt configuration */
  HAL_NVIC_SetPriority(DMA1_Channel2_IRQn, 0, 0);
  HAL_NVIC_EnableIRQ(DMA1_Channel2_IRQn);
  /* DMA1_Channel3_IRQn interrupt configuration */
  HAL_NVIC_SetPriority(DMA1_Channel3_IRQn, 0, 0);
  HAL_NVIC_EnableIRQ(DMA1_Channel3_IRQn);
  /* DMA2_Channel1_IRQn interrupt configuration */
  HAL_NVIC_SetPriority(DMA2_Channel1_IRQn, 0, 0);
  HAL_NVIC_EnableIRQ(DMA2_Channel1_IRQn);
  /* DMA2_Channel2_IRQn interrupt configuration */
  HAL_NVIC_SetPriority(DMA2_Channel2_IRQn, 0, 0);
  HAL_NVIC_EnableIRQ(DMA2_Channel2_IRQn);

}

static void MX_GPIO_Init(void)
{
  GPIO_InitTypeDef GPIO_InitStruct = {0};

  /* GPIO Ports Clock Enable */
  __HAL_RCC_GPIOA_CLK_ENABLE();
  __HAL_RCC_GPIOB_CLK_ENABLE();

  /*Configure GPIO pins : Instp_Pin Volp_Pin Instm_Pin Volm_Pin */
  GPIO_InitStruct.Pin = Instp_Pin|Volp_Pin|Instm_Pin|Volm_Pin;
  GPIO_InitStruct.Mode = GPIO_MODE_IT_RISING_FALLING;
  GPIO_InitStruct.Pull = GPIO_NOPULL;
  HAL_GPIO_Init(GPIOB, &GPIO_InitStruct);

}

/* USER CODE BEGIN 4 */

void HAL_TIM_PeriodElapsedCallback(TIM_HandleTypeDef *htim)
{
	Vol_p_Tick++;
	Vol_m_Tick++;
	Inst_p_Tick++;
	Inst_m_Tick++;
	Tick++;
}

void HAL_GPIO_EXTI_Callback(uint16_t GPIO)
{
	//	switch(GPIO)
	//	{
	//	case GPIO_PIN_3:	//Inst +
	//		if(HAL_GPIO_ReadPin(Instp_GPIO_Port, Instp_Pin)==0) Inst_p_Tick = 0; 	// Falling edge, restart debounce counter
	//		else if(Inst_p_Tick >= DEBOUNCE_TIME) buttonFlags |= 1<<INST_P_BIT;		// Debouncing delay passed ==> Button push is valid
	//		break;
	//
	//	case GPIO_PIN_4:	//VOL+
	//		if(HAL_GPIO_ReadPin(Volp_GPIO_Port, Volp_Pin)==0) Vol_p_Tick = 0; 	// Falling edge, restart debounce counter
	//		else if(Vol_p_Tick >= DEBOUNCE_TIME) buttonFlags |= 1<<VOL_P_BIT;		// Debouncing delay passed ==> Button push is valid
	//		break;
	//	case GPIO_PIN_5:	//Inst -
	//		if(HAL_GPIO_ReadPin(Instm_GPIO_Port, Instm_Pin)==0) Inst_m_Tick = 0; 	// Falling edge, restart debounce counter
	//		else if(Inst_m_Tick >= DEBOUNCE_TIME) buttonFlags |= 1<<INST_M_BIT;		// Debouncing delay passed ==> Button push is valid
	//		break;
	//	case GPIO_PIN_6:	//VOL-
	//		if(HAL_GPIO_ReadPin(Volm_GPIO_Port, Volm_Pin)==0) Vol_m_Tick = 0; 	// Falling edge, restart debounce counter
	//		else if(Vol_m_Tick >= DEBOUNCE_TIME) buttonFlags |= 1<<VOL_M_BIT;		// Debouncing delay passed ==> Button push is valid
	//		break;
	//	default:
	//		break;
	//	}
}

/* USER CODE END 4 */

void Error_Handler(void)
{
}

/************************ (C) COPYRIGHT STMicroelectronics *****END OF FILE****/
